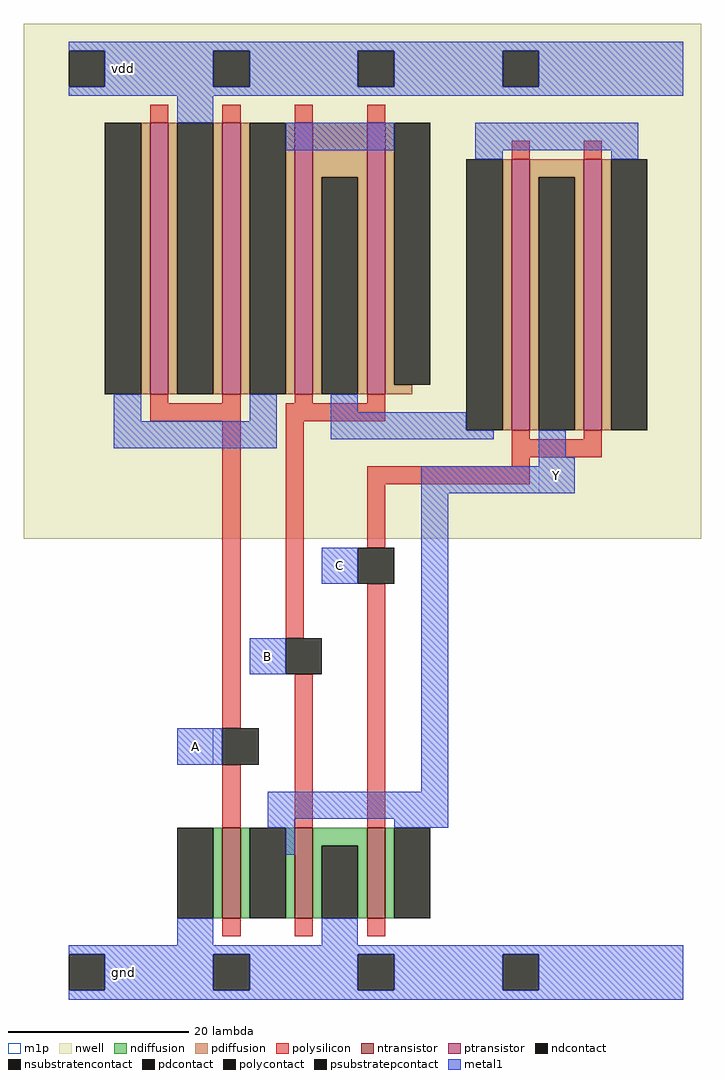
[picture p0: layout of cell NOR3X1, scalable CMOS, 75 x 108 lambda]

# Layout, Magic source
magic
tech scmos
<< nwell >>
rect -7 48 68 105
<< ntransistor >>
rect 15 6 17 16
rect 23 6 25 16
rect 31 6 33 16
<< ptransistor >>
rect 7 64 9 94
rect 15 64 17 94
rect 23 64 25 94
rect 31 64 33 94
rect 47 60 49 90
rect 55 60 57 90
<< ndiffusion >>
rect 14 6 15 16
rect 17 6 18 16
rect 22 6 23 16
rect 25 14 31 16
rect 25 6 26 14
rect 30 6 31 14
rect 33 6 34 16
<< pdiffusion >>
rect 6 64 7 94
rect 9 64 10 94
rect 14 64 15 94
rect 17 64 18 94
rect 22 64 23 94
rect 25 88 31 94
rect 25 64 26 88
rect 30 64 31 88
rect 33 65 34 94
rect 33 64 36 65
rect 46 60 47 90
rect 49 88 55 90
rect 49 60 50 88
rect 54 60 55 88
rect 57 60 58 90
<< ndcontact >>
rect 10 6 14 16
rect 18 6 22 16
rect 26 6 30 14
rect 34 6 38 16
<< pdcontact >>
rect 2 64 6 94
rect 10 64 14 94
rect 18 64 22 94
rect 26 64 30 88
rect 34 65 38 94
rect 42 60 46 90
rect 50 60 54 88
rect 58 60 62 90
<< psubstratepcontact >>
rect -2 -2 2 2
rect 14 -2 18 2
rect 30 -2 34 2
rect 46 -2 50 2
<< nsubstratencontact >>
rect -2 98 2 102
rect 14 98 18 102
rect 30 98 34 102
rect 46 98 50 102
<< polysilicon >>
rect 7 94 9 96
rect 15 94 17 96
rect 23 94 25 96
rect 31 94 33 96
rect 47 90 49 92
rect 55 90 57 92
rect 7 63 9 64
rect 15 63 17 64
rect 23 63 25 64
rect 31 63 33 64
rect 7 61 17 63
rect 15 27 17 61
rect 22 61 33 63
rect 22 37 24 61
rect 47 59 49 60
rect 55 59 57 60
rect 47 57 57 59
rect 47 56 49 57
rect 31 54 49 56
rect 31 47 33 54
rect 15 16 17 23
rect 23 16 25 33
rect 31 16 33 43
rect 15 4 17 6
rect 23 4 25 6
rect 31 4 33 6
<< polycontact >>
rect 30 43 34 47
rect 22 33 26 37
rect 15 23 19 27
<< metal1 >>
rect -2 102 66 103
rect 2 98 14 102
rect 18 98 30 102
rect 34 98 46 102
rect 50 98 66 102
rect -2 97 66 98
rect 10 94 14 97
rect 22 91 34 94
rect 43 91 61 94
rect 43 90 46 91
rect 3 61 6 64
rect 18 61 21 64
rect 3 58 21 61
rect 27 62 30 64
rect 27 60 42 62
rect 58 90 61 91
rect 27 59 45 60
rect 50 57 53 60
rect 50 56 54 57
rect 37 53 54 56
rect 26 43 30 47
rect 18 33 22 37
rect 10 23 15 27
rect 37 20 40 53
rect 20 17 40 20
rect 20 16 23 17
rect 22 13 23 16
rect 34 16 40 17
rect 10 3 14 6
rect 26 3 30 6
rect -2 2 66 3
rect 2 -2 14 2
rect 18 -2 30 2
rect 34 -2 46 2
rect 50 -2 66 2
rect -2 -3 66 -2
<< m1p >>
rect 50 53 54 57
rect 26 43 30 47
rect 18 33 22 37
rect 10 23 14 27
<< labels >>
rlabel metal1 4 100 4 100 6 vdd
rlabel metal1 4 0 4 0 8 gnd
rlabel m1p 20 35 20 35 6 B
rlabel m1p 28 45 28 45 6 C
rlabel m1p 12 25 12 25 6 A
rlabel m1p 52 55 52 55 6 Y
<< end >>
